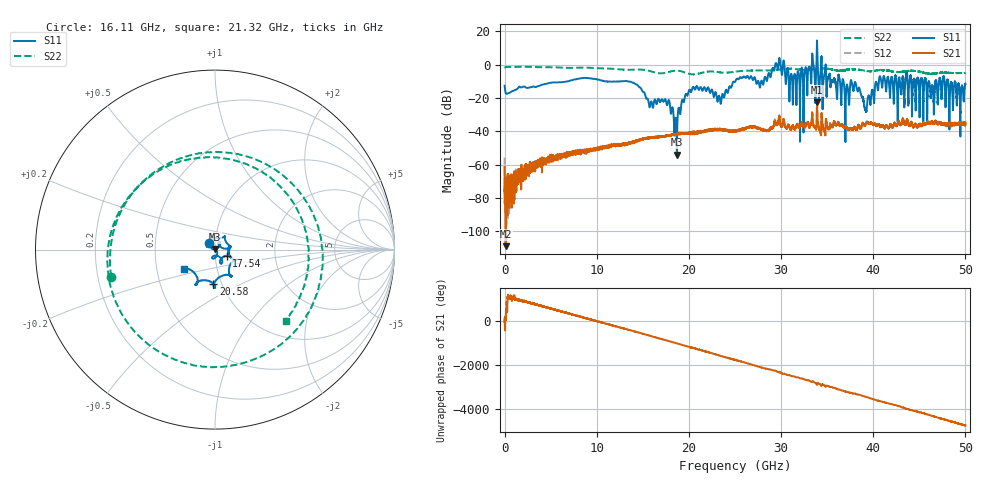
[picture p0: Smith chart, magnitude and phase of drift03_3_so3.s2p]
!Created with skrf (http://scikit-rf.org).
# Hz S RI R 50.0
!freq ReS11 ImS11 ReS21 ImS21 ReS12 ImS12 ReS22 ImS22
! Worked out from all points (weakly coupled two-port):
!   10001 points, 300 kHz to 50 GHz, reference 50 ohm
!   highest |S21| = -22.57 dB at 33.9 GHz (marker M1); lowest = -109.0 dB at 115.3 MHz (marker M2)
!   lowest |S11| = -54.1 dB at 18.7 GHz (marker M3), VSWR 1.00, Z = 50 + j0.197 ohm
!   |S11| at or under -10 dB: start of sweep to 6.96 GHz; 13.31 GHz to 25.05 GHz (11.74 GHz wide, 61.2 % of centre); 37.64 GHz to 40.61 GHz (2.97 GHz wide, 7.59 % of centre) (the widest 3 of 66)
!   |S22| runs from -6.0 to -1.3 dB; largest |S21 - S12| = 0.0086
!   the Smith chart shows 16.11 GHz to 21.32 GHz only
!   S11 on the Smith chart (normalised r, x): 16.11 GHz: 0.93, +0.07; 17.54 GHz: 1.14, -0.08; 20.58 GHz: 0.91, -0.36; 21.32 GHz: 0.69, -0.15
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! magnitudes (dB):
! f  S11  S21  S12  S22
! 300 kHz  -12.7  -61.4  -55.9  -2.1
! 115.3 MHz  -17.0  -109.0  -88.8  -1.5
! 8.335 GHz  -8.2  -51.9  -52.1  -1.9
! 13.82 GHz  -10.7  -47.2  -47.2  -3.1
! 16.11 GHz  -25.8  -43.6  -43.8  -4.5
! 16.67 GHz  -20.6  -43.8  -43.6  -5.2
! 17.54 GHz  -22.7  -43.1  -42.7  -4.8
! 18.7 GHz  -54.1  -41.5  -41.8  -3.7
! 20.58 GHz  -14.4  -41.9  -41.0  -5.9
! 21.32 GHz  -13.9  -40.1  -40.4  -5.1
! 23.3 GHz  -18.8  -39.1  -38.8  -4.7
! 25 GHz  -10.4  -39.9  -39.8  -4.3
! 27.87 GHz  -9.7  -38.9  -39.2  -3.6
! 29.68 GHz  -2.8  -35.3  -34.8  -3.1
! 31.86 GHz  -4.1  -36.8  -37.3  -2.9
! 33.34 GHz  0.3  -32.7  -32.1  -2.9
! 33.9 GHz  14.1  -22.6  -23.3  -2.5
! 37.18 GHz  -12.3  -38.1  -38.3  -3.3
! 38.21 GHz  -14.0  -39.3  -38.8  -2.9
! 39.15 GHz  -27.3  -36.3  -36.0  -3.8
! 41.67 GHz  -9.3  -38.3  -38.2  -3.7
! 50 GHz  -11.7  -35.8  -35.4  -5.0
